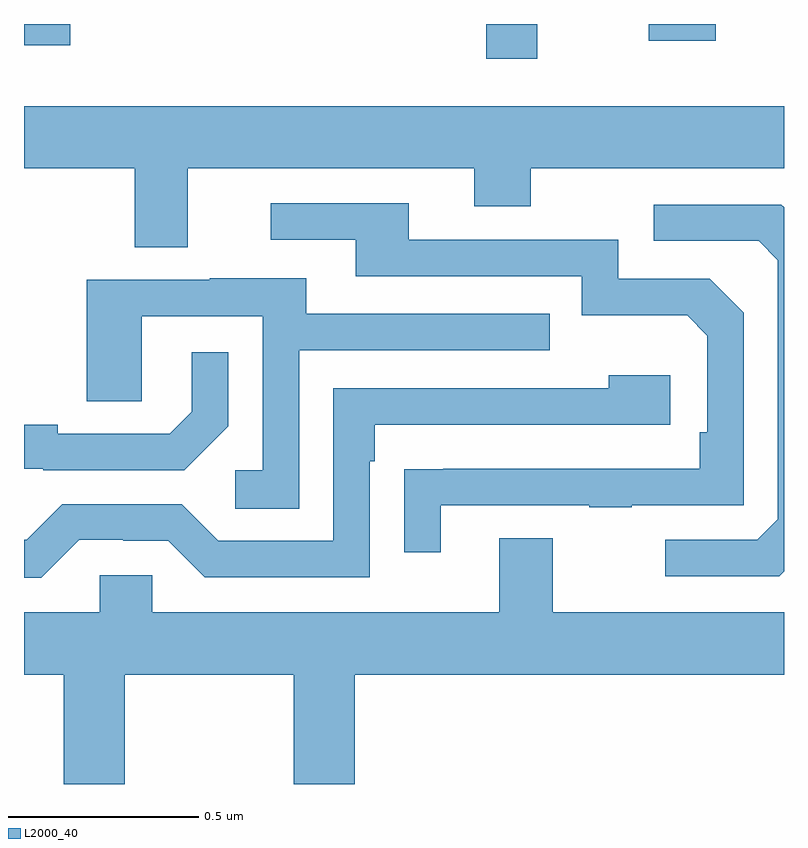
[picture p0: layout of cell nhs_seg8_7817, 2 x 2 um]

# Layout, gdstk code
import gdstk
lib = gdstk.Library(unit=1e-6, precision=1e-09)
def R(c, l, rs):  # rectangles x0, y0, x1, y1
    for r in rs: c.add(gdstk.rectangle(r[:2], r[2:], *l))
def P(c, l, *ps):  # polygons
    for p in ps: c.add(gdstk.Polygon(p, *l))
L2000_40 = (2000, 40)

nhs_seg8_7817 = lib.new_cell('nhs_seg8_7817')
R(nhs_seg8_7817, L2000_40, [(216.216,1096.809,216.351,1096.9), (215,1096.844,215.122,1096.9), (216.644,1096.856,216.82,1096.9)])
P(nhs_seg8_7817, L2000_40, [(215.431,1096.52),(216.185,1096.52),(216.185,1096.421),(216.333,1096.421),(216.333,1096.52),(217,1096.52),(217,1096.684),(215,1096.684),(215,1096.52),(215.291,1096.52),(215.291,1096.312),(215.431,1096.312)],
  [(216.097,1095.633),(216.487,1095.633),(216.487,1095.628),(216.599,1095.628),(216.599,1095.633),(216.894,1095.633),(216.894,1096.14),(216.804,1096.23),(216.564,1096.23),(216.564,1096.332),(216.013,1096.332),(216.013,1096.428),(215.649,1096.428),(215.649,1096.332),(215.873,1096.332),(215.873,1096.236),(216.468,1096.236),(216.468,1096.133),(216.745,1096.133),(216.798,1096.08),(216.798,1095.826),(216.778,1095.826),(216.778,1095.729),(216.103,1095.729),(216.103,1095.728),(216.001,1095.728),(216.001,1095.51),(216.097,1095.51)],
  [(217,1095.46),(217,1096.418),(216.993,1096.425),(216.657,1096.425),(216.657,1096.329),(216.933,1096.329),(216.984,1096.278),(216.984,1095.597),(216.93,1095.543),(216.687,1095.543),(216.687,1095.447),(216.987,1095.447)],
  [(215.724,1096.041),(216.383,1096.041),(216.383,1096.137),(215.743,1096.137),(215.743,1096.231),(215.489,1096.231),(215.489,1096.227),(215.165,1096.227),(215.165,1095.907),(215.31,1095.907),(215.31,1096.131),(215.628,1096.131),(215.628,1095.726),(215.556,1095.726),(215.556,1095.625),(215.724,1095.625)],
  [(215.538,1095.842),(215.538,1096.036),(215.441,1096.036),(215.441,1095.879),(215.384,1095.822),(215.089,1095.822),(215.089,1095.845),(215,1095.845),(215,1095.729),(215.05,1095.729),(215.05,1095.726),(215.422,1095.726)],
  [(215.145,1095.543),(215.261,1095.543),(215.261,1095.54),(215.379,1095.54),(215.475,1095.444),(215.91,1095.444),(215.91,1095.749),(215.923,1095.749),(215.923,1095.846),(216.7,1095.846),(216.7,1095.976),(216.539,1095.976),(216.539,1095.942),(215.814,1095.942),(215.814,1095.54),(215.511,1095.54),(215.415,1095.636),(215.1,1095.636),(215.007,1095.543),(215,1095.543),(215,1095.443),(215.045,1095.443)],
  [(215.265,1095.188),(215.71,1095.188),(215.71,1094.9),(215.87,1094.9),(215.87,1095.188),(217,1095.188),(217,1095.352),(216.391,1095.352),(216.391,1095.547),(216.251,1095.547),(216.251,1095.352),(215.337,1095.352),(215.337,1095.45),(215.199,1095.45),(215.199,1095.352),(215,1095.352),(215,1095.188),(215.105,1095.188),(215.105,1094.9),(215.265,1094.9)])

lib.write_gds('nhs_seg8_7817.gds')
